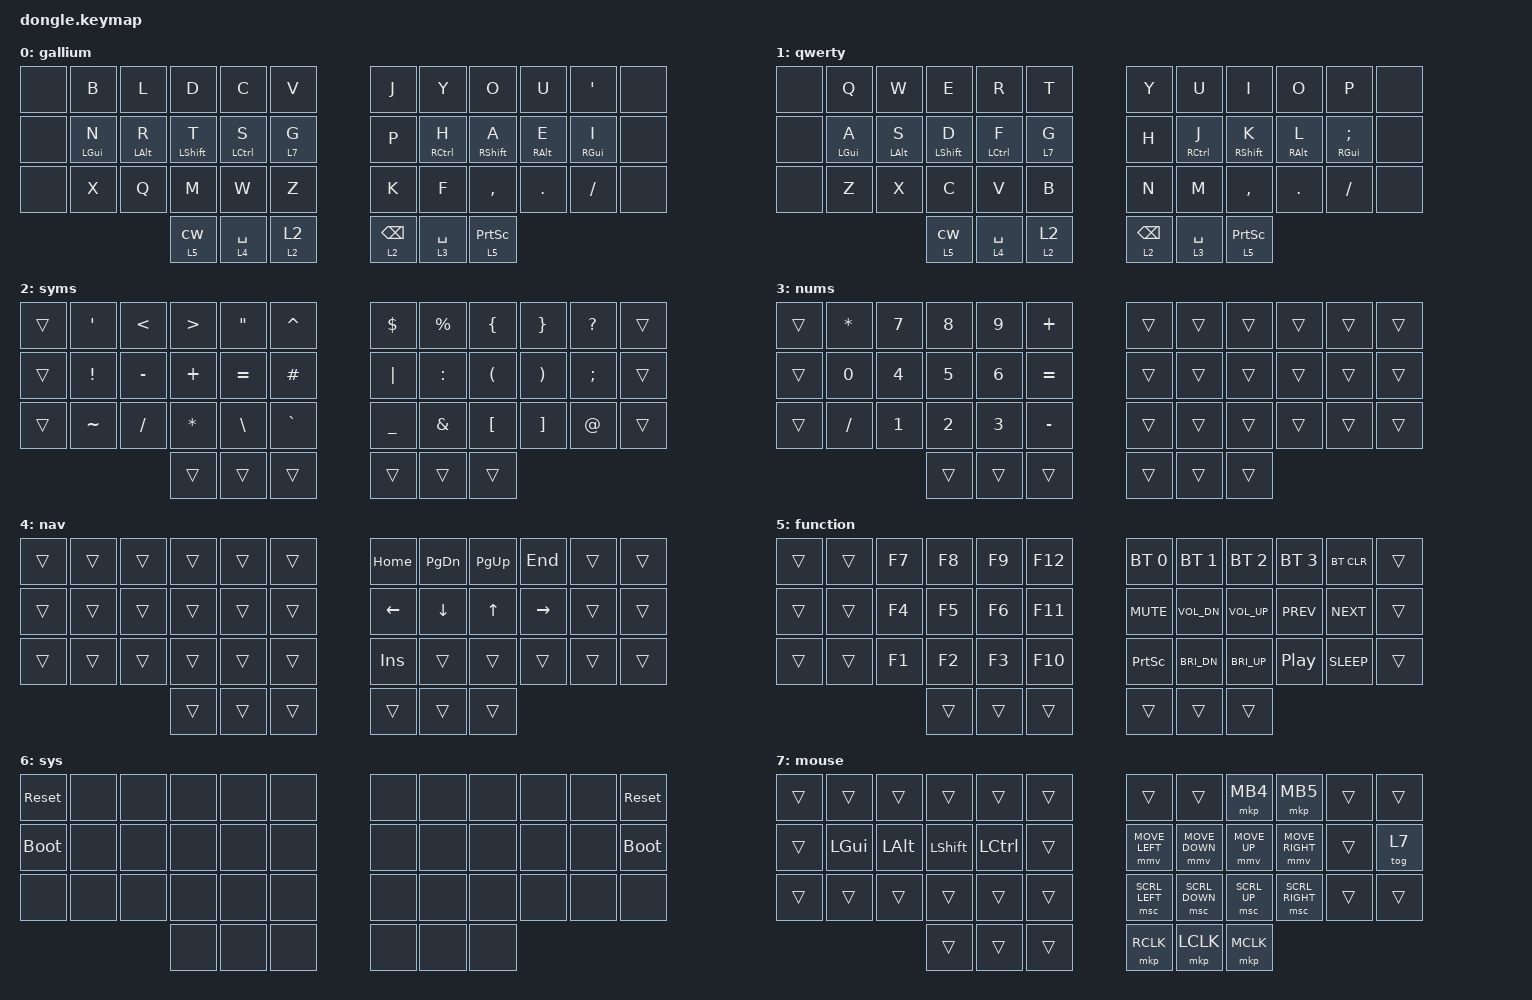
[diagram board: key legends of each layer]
#include <behaviors.dtsi>
#include <dt-bindings/zmk/keys.h>
#include <dt-bindings/zmk/bt.h>
#include <dt-bindings/zmk/ext_power.h>

#define ZMK_POINTING_DEFAULT_MOVE_VAL 1500
#define ZMK_POINTING_DEFAULT_SCRL_VAL 25
#include <dt-bindings/zmk/pointing.h>


&mmv {
  time-to-max-speed-ms = <350>;
  acceleration-exponent = <1>;
};
&msc {
    time-to-max-speed-ms = <100>;
    acceleration-exponent = <0>;
};

/{
    behaviors {
        hl: home_row_mod_left {
            compatible = "zmk,behavior-hold-tap";
            #binding-cells = <2>;
            flavor = "balanced";
            tapping-term-ms = <175>;
            quick-tap-ms = <175>;
            require-prior-idle-ms = <120>;
            bindings = <&kp>, <&kp>;
            hold-trigger-key-positions = <6 7 8 9 10 11 18 19 20 21 22 23 30 31 32 33 34 35 36 37 38 39 40 41>;
            hold-trigger-on-release;
        };
        lhl: layer_home_row_mod_left {
            compatible = "zmk,behavior-hold-tap";
            #binding-cells = <2>;
            flavor = "balanced";
            tapping-term-ms = <175>;
            quick-tap-ms = <175>;
            require-prior-idle-ms = <120>;
            bindings = <&mo>, <&kp>;
            hold-trigger-key-positions = <6 7 8 9 10 11 18 19 20 21 22 23 30 31 32 33 34 35 36 37 38 39 40 41>;
            hold-trigger-on-release;
        };

        hr: home_row_mod_right {
            compatible = "zmk,behavior-hold-tap";
            #binding-cells = <2>;
            flavor = "balanced";
            tapping-term-ms = <175>;
            quick-tap-ms = <175>;
            require-prior-idle-ms = <120>;
            bindings = <&kp>, <&kp>;
            hold-trigger-key-positions = <0 1 2 3 4 5 12 13 14 15 16 17 24 25 26 27 28 29 36 37 38 39 40 41>;
            hold-trigger-on-release;
        };
        lm: layer_mod {
            compatible = "zmk,behavior-hold-tap";
            #binding-cells = <2>;
            tapping-term-ms = <175>;
            quick-tap-ms = <175>;
            flavor = "balanced";
            bindings = <&mo>, <&kp>;
        };

        slm: sticky_key_layer_mod {
            compatible = "zmk,behavior-hold-tap";
            #binding-cells = <2>;
            tapping-term-ms = <175>;
            quick-tap-ms = <0>;
            flavor = "hold-preferred";
            bindings = <&mo>, <&sk>;
        };

        td_c: tap_dance_capsword {
            compatible = "zmk,behavior-tap-dance";
            #binding-cells = <0>;
            tapping-term-ms = <300>;
            bindings = <&sk RSHFT>, <&caps_word>;
        };
        td_cl: tap_dance_capslock {
            compatible = "zmk,behavior-tap-dance";
            #binding-cells = <0>;
            tapping-term-ms = <300>;
            bindings = <&sk LSHFT>, <&kp CAPS>;
        };
        cw: ultimate_caps {
            compatible = "zmk,behavior-tap-dance";
            #binding-cells = <0>;
            tapping-term-ms = <300>;
            bindings = <&caps_word>, <&kp CAPS>;
        };

        cwl: ultimate_caps_layer {
            compatible = "zmk,behavior-hold-tap";
            #binding-cells = <2>;
            tapping-term-ms = <150>;
            flavor = "balanced";
            bindings = <&mo>, <&cw>;
        };

        shftr: ultimate_shiftr {
            compatible = "zmk,behavior-hold-tap";
            #binding-cells = <2>;
            tapping-term-ms = <150>;
            flavor = "balanced";
            bindings = <&kp>, <&td_c>;
        };
        shftl: ultimate_shiftl {
            compatible = "zmk,behavior-hold-tap";
            #binding-cells = <2>;
            tapping-term-ms = <150>;
            flavor = "balanced";
            bindings = <&kp>, <&td_cl>;
        };
        slish: stickish_layer {
            compatible = "zmk,behavior-hold-tap";
            #binding-cells = <2>;
            tapping-term-ms = <175>;
            flavor = "balanced";
            bindings = <&mo>, <&sl>;
        };

    };

    combos {
        compatible = "zmk,combos";
        combo_sys0 {
            timeout-ms = <50>;
            key-positions = <36 37 38>; 
            bindings = <&mo 6>; 
        };
        combo_sys1 {
            timeout-ms = <50>;
            key-positions = <39 40 41>; 
            bindings = <&mo 6>; 
        };
        combo_esc {
            timeout-ms = <50>;
            key-positions = <2 3>; 
            bindings = <&kp ESC>; 
        };
        combo_ret {
            timeout-ms = <50>;
            bindings = <&kp RET>; 
            key-positions = <8 9>; 
        };
        combo_tab {
            timeout-ms = <50>;
            key-positions = <3 4>; 
            bindings = <&kp TAB>; 
        };
        combo_delete {
            timeout-ms = <50>;
            key-positions = <7 8>; 
            bindings = <&kp DEL>; 
        };
        combo_mouse {
            timeout-ms = <50>;
            key-positions = <26 27>; 
            bindings = <&tog 7>; 
        };
        combo_to_qwerty {
            timeout-ms = <50>;
            key-positions = <32 33>; 
            layers = <0>;
            bindings = <&to 1>; 
        };
        combo_to_gallium {
            timeout-ms = <50>;
            key-positions = <32 33>; 
            layers = <1>;
            bindings = <&to 0>; 
        };
    };


    keymap {
        compatible = "zmk,keymap";

        gallium {
            display-name = "gallium";
            bindings = <
&none &kp B      &kp L      &kp D       &kp C       &kp V       &kp J  &kp Y       &kp O       &kp U      &kp SQT    &none
&none &hl LGUI N &hl LALT R &hl LSHFT T &hl LCTRL S &lhl 7 G    &kp P  &hr RCTRL H &hr RSHFT A &hr RALT E &hr RGUI I &none
&none &kp X      &kp Q      &kp M       &kp W       &kp Z       &kp K  &kp F       &kp COMMA   &kp DOT    &kp FSLH   &none
                   &cwl 5 0  &lm 4 SPACE &slish 2 2       &lm 2 BSPC &lm 3 SPACE &lm 5 PSCRN
            >;
        };

        qwerty {
            display-name = "qwerty";
            bindings = <
&none &kp Q      &kp W      &kp E       &kp R       &kp T       &kp Y  &kp U       &kp I       &kp O      &kp P         &none
&none &hl LGUI A &hl LALT S &hl LSHFT D &hl LCTRL F &lhl 7 G    &kp H  &hr RCTRL J &hr RSHFT K &hr RALT L &hr RGUI SEMI &none
&none &kp Z      &kp X      &kp C       &kp V       &kp B       &kp N  &kp M       &kp COMMA   &kp DOT    &kp FSLH      &none
                   &cwl 5 0  &lm 4 SPACE &slish 2 2       &lm 2 BSPC &lm 3 SPACE &lm 5 PSCRN
            >;
        };

        syms {
            display-name = "syms";
//  -----------------------------------------------------------------------------------------
//  |  '  |  <  |  >  |  "  |  ^  |     |  $  |  %  |  {  |  }  |  ?  |
//  |  !  |  -  |  +  |  =  |  #  |     |  |  |  :  |  (  |  )  |  ;  |
//  |  ~  |  /  |  *  |  \  |  `  |     |  _  |  &  |  [  |  ]  |  @  |
            bindings = <
&trans &kp SQT   &kp LT    &kp GT    &kp DQT   &kp CARET   &kp DLLR  &kp PRCNT &kp LBRC &kp RBRC &kp QMARK &trans
&trans &kp EXCL  &kp MINUS &kp PLUS  &kp EQUAL &kp HASH    &kp PIPE  &kp COLON &kp LPAR &kp RPAR &kp SEMI  &trans
&trans &kp TILDE &kp FSLH  &kp ASTRK &kp BSLH  &kp GRAVE   &kp UNDER &kp AMPS  &kp LBKT &kp RBKT &kp AT    &trans
                          &trans    &trans    &trans        &trans    &trans    &trans
            >;
        };

        nums {
            display-name = "nums";
//  -----------------------------------------------------------------------------------------
//  |  *  |  7  |  8  |  9  |  +  |     | HOME  | PGDN | PGUP | END  |trans|
//  |  0  |  4  |  5  |  6  |  =  |     | LEFT  | DOWN |  UP  | RGHT |trans|
//  |  /  |  1  |  2  |  3  |  -  |     |insert |trans | ,    | .    |  /  |
            bindings = <
&trans &kp ASTRK &kp N7 &kp N8 &kp N9 &kp PLUS     &trans &trans &trans &trans &trans &trans
&trans &kp N0    &kp N4 &kp N5 &kp N6 &kp EQUAL    &trans &trans &trans &trans &trans &trans
&trans &kp FSLH  &kp N1 &kp N2 &kp N3 &kp MINUS    &trans &trans &trans &trans &trans &trans
                        &trans  &trans  &trans      &trans  &trans  &trans
            >;
        };

        nav {
            display-name = "nav";
//  -----------------------------------------------------------------------------------------
//  |  *  |  7  |  8  |  9  |  +  |     | HOME | PGDN | PGUP | END  |trans|
//  |  0  |  4  |  5  |  6  |  =  |     | LEFT | DOWN |  UP  | RGHT |trans|
//  |  /  |  1  |  2  |  3  |  -  |     |trans |trans | ,    | .    |  /  |
            bindings = <
&trans &trans &trans &trans &trans &trans     &kp HOME &kp PG_DN &kp PG_UP &kp END   &trans &trans
&trans &trans &trans &trans &trans &trans     &kp LEFT &kp DOWN  &kp UP    &kp RIGHT &trans &trans
&trans &trans &trans &trans &trans &trans     &kp INS  &trans    &trans    &trans    &trans &trans
                        &trans  &trans  &trans      &trans  &trans  &trans
            >;
        };

        function {
            display-name = "function";
//  -----------------------------------------------------------------------------------------
//  |     | F7  | F8  | F9  | F12 |      | BT1  | BT2  | BT3  | BT4  | BTCLR |     |
//  |     | F4  | F5  | F6  | F11 |      | MUTE | VOLDN| VOLUP| PREV | NEXT  |     |
//  |     | F1  | F2  | F3  | F10 |      |PSCRN | BRIDN| BRIUP| PLAY | SLEEP |     |
            bindings = <
&trans &trans &kp F7 &kp F8 &kp F9 &kp F12      &bt BT_SEL 0 &bt BT_SEL 1 &bt BT_SEL 2 &bt BT_SEL 3 &bt BT_CLR  &trans
&trans &trans &kp F4 &kp F5 &kp F6 &kp F11      &kp C_MUTE   &kp C_VOL_DN &kp C_VOL_UP &kp C_PREV   &kp C_NEXT  &trans
&trans &trans &kp F1 &kp F2 &kp F3 &kp F10      &kp PSCRN    &kp C_BRI_DN &kp C_BRI_UP &kp C_PP     &kp C_SLEEP &trans
                    &trans  &trans  &trans      &trans &trans  &trans
            >;
        };

        sys {
            display-name = "sys";
            bindings = <
&sys_reset  &none &none &none &none &none    &none &none &none &none &none &sys_reset
&bootloader &none &none &none &none &none    &none &none &none &none &none &bootloader
&none       &none &none &none &none &none    &none &none &none &none &none &none
                        &none &none &none    &none &none &none
            >;
        };

        mouse {
            display-name = "mouse";
          bindings = <
&trans &trans   &trans   &trans    &trans    &trans   &trans         &trans         &mkp MB4      &mkp MB5        &trans &trans
&trans &kp LGUI &kp LALT &kp LSHFT &kp LCTRL &trans   &mmv MOVE_LEFT &mmv MOVE_DOWN &mmv MOVE_UP  &mmv MOVE_RIGHT &trans &tog 7
&trans &trans   &trans   &trans    &trans    &trans   &msc SCRL_LEFT &msc SCRL_DOWN &msc SCRL_UP  &msc SCRL_RIGHT &trans &trans
                         &trans   &trans   &trans       &mkp RCLK   &mkp LCLK   &mkp MCLK
            >;
        };
    };
};

